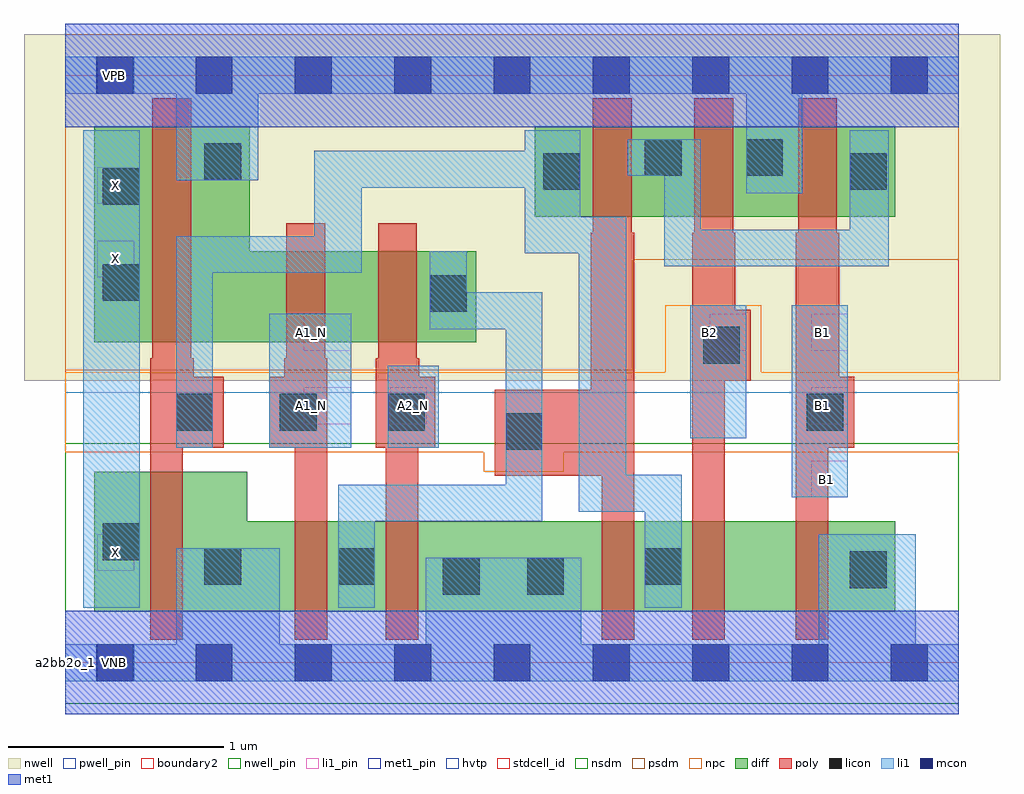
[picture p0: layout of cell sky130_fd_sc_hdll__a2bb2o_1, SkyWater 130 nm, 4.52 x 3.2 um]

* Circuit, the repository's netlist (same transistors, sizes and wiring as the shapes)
* Copyright 2020 The SkyWater PDK Authors
*
* Licensed under the Apache License, Version 2.0 (the "License");
* you may not use this file except in compliance with the License.
* You may obtain a copy of the License at
*
*     https://www.apache.org/licenses/LICENSE-2.0
*
* Unless required by applicable law or agreed to in writing, software
* distributed under the License is distributed on an "AS IS" BASIS,
* WITHOUT WARRANTIES OR CONDITIONS OF ANY KIND, either express or implied.
* See the License for the specific language governing permissions and
* limitations under the License.
*
* SPDX-License-Identifier: Apache-2.0

.SUBCKT sky130_fd_sc_hdll__a2bb2o_1 A1_N A2_N B1 B2 VGND VNB VPB VPWR X
*.PININFO A1_N:I A2_N:I B1:I B2:I VGND:I VNB:I VPB:I VPWR:I X:O
MMIN2 X y VGND VNB sky130_fd_pr__nfet_01v8 m=1 w=0.65U l=0.15U mult=1 sa=0.265
+ sb=0.265 sd=0.28 area=0.063 perim=1.14
MMNnor0 inor A1_N VGND VNB sky130_fd_pr__nfet_01v8 m=1 w=0.42U l=0.15U mult=1 sa=0.265
+ sb=0.265 sd=0.28 area=0.063 perim=1.14
MMNnor1 inor A2_N VGND VNB sky130_fd_pr__nfet_01v8 m=1 w=0.42U l=0.15U mult=1 sa=0.265
+ sb=0.265 sd=0.28 area=0.063 perim=1.14
MMNaoi10 VGND B1 sndNB1 VNB sky130_fd_pr__nfet_01v8 m=1 w=0.42U l=0.15U mult=1
+ sa=0.265 sb=0.265 sd=0.28 area=0.063 perim=1.14
MMNaoi11 sndNB1 B2 y VNB sky130_fd_pr__nfet_01v8 m=1 w=0.42U l=0.15U mult=1 sa=0.265
+ sb=0.265 sd=0.28 area=0.063 perim=1.14
MMNaoi20 y inor VGND VNB sky130_fd_pr__nfet_01v8 m=1 w=0.42U l=0.15U mult=1 sa=0.265
+ sb=0.265 sd=0.28 area=0.063 perim=1.14
MMPaoi20 y inor pmid VPB sky130_fd_pr__pfet_01v8_hvt m=1 w=0.42U l=0.18U mult=1
+ sa=0.265 sb=0.265 sd=0.28 area=0.063 perim=1.14
MMIP2 X y VPWR VPB sky130_fd_pr__pfet_01v8_hvt m=1 w=1.0U l=0.18U mult=1 sa=0.265
+ sb=0.265 sd=0.28 area=0.063 perim=1.14
MMPnor0 VPWR A1_N sndPA1N VPB sky130_fd_pr__pfet_01v8_hvt m=1 w=0.42U l=0.18U mult=1
+ sa=0.265 sb=0.265 sd=0.28 area=0.063 perim=1.14
MMPnor1 sndPA1N A2_N inor VPB sky130_fd_pr__pfet_01v8_hvt m=1 w=0.42U l=0.18U mult=1
+ sa=0.265 sb=0.265 sd=0.28 area=0.063 perim=1.14
MMPaoi10 pmid B1 VPWR VPB sky130_fd_pr__pfet_01v8_hvt m=1 w=0.42U l=0.18U mult=1
+ sa=0.265 sb=0.265 sd=0.28 area=0.063 perim=1.14
MMPaoi11 pmid B2 VPWR VPB sky130_fd_pr__pfet_01v8_hvt m=1 w=0.42U l=0.18U mult=1
+ sa=0.265 sb=0.265 sd=0.28 area=0.063 perim=1.14
.ENDS sky130_fd_sc_hdll__a2bb2o_1

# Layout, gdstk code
import gdstk
lib = gdstk.Library(unit=1e-6, precision=1e-09)
def R(c, l, rs):  # rectangles x0, y0, x1, y1
    for r in rs: c.add(gdstk.rectangle(r[:2], r[2:], *l))
def A(c, l, x, y, w, h, nx, ny, dx, dy):  # array of equal rectangles
    R(c, l, [(x+i*dx, y+j*dy, x+i*dx+w, y+j*dy+h) for i in range(nx) for j in range(ny)])
def P(c, l, *ps):  # polygons
    for p in ps: c.add(gdstk.Polygon(p, *l))
nwell_pin = (64, 16)
nwell = (64, 20)
diff = (65, 20)
poly = (66, 20)
licon = (66, 44)
li1_pin = (67, 16)
li1 = (67, 20)
mcon = (67, 44)
met1_pin = (68, 16)
met1 = (68, 20)
hvtp = (78, 44)
stdcell_id = (81, 4)
nsdm = (93, 44)
psdm = (94, 20)
npc = (95, 20)
pwell_pin = (122, 16)
boundary2 = (236, 0)

sky130_fd_sc_hdll__a2bb2 = lib.new_cell('sky130_fd_sc_hdll__a2bb2o_1')
R(sky130_fd_sc_hdll__a2bb2, nwell_pin, [(0.15,2.635,0.32,2.805)])
R(sky130_fd_sc_hdll__a2bb2, nwell, [(-0.19,1.305,4.33,2.91)])
R(sky130_fd_sc_hdll__a2bb2, diff, [(2.175,2.065,3.845,2.485)])
P(sky130_fd_sc_hdll__a2bb2, diff, [(3.845,0.655),(0.845,0.655),(0.845,0.885),(0.135,0.885),(0.135,0.235),(3.845,0.235)],
  [(1.905,1.905),(0.855,1.905),(0.855,2.485),(0.135,2.485),(0.135,1.485),(1.905,1.485)])
P(sky130_fd_sc_hdll__a2bb2, poly, [(0.735,1.325),(0.595,1.325),(0.595,1.41),(0.585,1.41),(0.585,2.615),(0.405,2.615),(0.405,1.41),(0.395,1.41),(0.395,0.105),(0.545,0.105),(0.545,0.995),(0.735,0.995)],
  [(1.215,1.41),(1.205,1.41),(1.205,2.035),(1.025,2.035),(1.025,1.41),(1.015,1.41),(1.015,1.325),(0.945,1.325),(0.945,0.995),(1.065,0.995),(1.065,0.105),(1.215,0.105)],
  [(1.715,1.325),(1.64,1.325),(1.64,1.41),(1.63,1.41),(1.63,2.035),(1.45,2.035),(1.45,1.41),(1.44,1.41),(1.44,0.995),(1.485,0.995),(1.485,0.105),(1.635,0.105),(1.635,0.995),(1.715,0.995)],
  [(2.635,1.99),(2.625,1.99),(2.625,2.615),(2.445,2.615),(2.445,1.99),(2.435,1.99),(2.435,1.265),(1.99,1.265),(1.99,0.865),(2.485,0.865),(2.485,0.105),(2.635,0.105)],
  [(3.175,1.635),(3.105,1.635),(3.105,1.99),(3.095,1.99),(3.095,2.615),(2.915,2.615),(2.915,1.99),(2.905,1.99),(2.905,0.105),(3.055,0.105),(3.055,1.305),(3.175,1.305)],
  [(3.655,1.325),(3.585,1.325),(3.585,1.99),(3.575,1.99),(3.575,2.615),(3.395,2.615),(3.395,1.99),(3.385,1.99),(3.385,0.105),(3.535,0.105),(3.535,0.995),(3.655,0.995)])
R(sky130_fd_sc_hdll__a2bb2, licon, [(1.75,0.315,1.92,0.485), (2.14,0.315,2.31,0.485), (3.635,0.345,3.805,0.515), (0.645,0.36,0.815,0.53), (1.265,0.36,1.435,0.53), (2.685,0.36,2.855,0.53), (0.175,0.475,0.345,0.645), (2.04,0.985,2.21,1.155), (0.515,1.075,0.685,1.245), (0.995,1.075,1.165,1.245), (1.495,1.075,1.665,1.245), (3.435,1.075,3.605,1.245), (2.955,1.385,3.125,1.555), (1.69,1.625,1.86,1.795), (0.175,1.675,0.345,1.845), (0.175,2.12,0.345,2.29), (2.215,2.19,2.385,2.36), (3.635,2.19,3.805,2.36), (0.645,2.235,0.815,2.405), (2.685,2.255,2.855,2.425), (3.155,2.255,3.325,2.425)])
A(sky130_fd_sc_hdll__a2bb2, li1_pin, 3.455, 0.765, 0.17, 0.17, 1, 3, 0, 0.34)
R(sky130_fd_sc_hdll__a2bb2, li1_pin, [(0.15,-0.085,0.32,0.085), (0.15,0.425,0.32,0.595), (1.105,1.105,1.325,1.275), (1.505,1.105,1.675,1.275), (1.105,1.445,1.325,1.615), (2.985,1.445,3.155,1.615), (0.15,1.785,0.32,1.955), (0.15,2.125,0.32,2.295), (0.15,2.635,0.32,2.805)])
R(sky130_fd_sc_hdll__a2bb2, li1, [(0.085,0.255,0.345,2.465), (3.365,0.765,3.625,1.655), (0.945,0.995,1.325,1.615), (1.495,0.995,1.73,1.375), (2.895,1.04,3.155,1.655)])
P(sky130_fd_sc_hdll__a2bb2, li1, [(2.855,0.87),(2.6,0.87),(2.6,2.065),(2.385,2.065),(2.385,2.465),(2.13,2.465),(2.13,2.37),(1.155,2.37),(1.155,1.975),(0.515,1.975),(0.515,0.995),(0.685,0.995),(0.685,1.805),(1.375,1.805),(1.375,2.2),(2.13,2.2),(2.13,1.895),(2.38,1.895),(2.38,0.7),(2.685,0.7),(2.685,0.255),(2.855,0.255)],
  [(2.21,1.715),(1.86,1.715),(1.86,1.905),(1.69,1.905),(1.69,1.545),(2.04,1.545),(2.04,0.825),(1.265,0.825),(1.265,0.255),(1.435,0.255),(1.435,0.655),(2.21,0.655)],
  [(3.815,2.465),(3.635,2.465),(3.635,2.005),(2.945,2.005),(2.945,2.425),(2.605,2.425),(2.605,2.255),(2.775,2.255),(2.775,1.835),(3.815,1.835)],
  [(4.14,2.805),(0,2.805),(0,2.635),(0.515,2.635),(0.515,2.235),(0.895,2.235),(0.895,2.635),(3.155,2.635),(3.155,2.175),(3.415,2.175),(3.415,2.635),(4.14,2.635)],
  [(4.14,0.085),(3.94,0.085),(3.94,0.595),(3.49,0.595),(3.49,0.085),(2.39,0.085),(2.39,0.485),(1.67,0.485),(1.67,0.085),(0.995,0.085),(0.995,0.53),(0.515,0.53),(0.515,0.085),(0,0.085),(0,-0.085),(4.14,-0.085)])
A(sky130_fd_sc_hdll__a2bb2, mcon, 0.145, -0.085, 0.17, 0.17, 9, 2, 0.46, 2.72)
R(sky130_fd_sc_hdll__a2bb2, met1_pin, [(0.15,-0.085,0.32,0.085), (0.15,2.635,0.32,2.805)])
R(sky130_fd_sc_hdll__a2bb2, met1, [(0,-0.24,4.14,0.24), (0,2.48,4.14,2.96)])
R(sky130_fd_sc_hdll__a2bb2, hvtp, [(0,1.25,4.14,2.72)])
R(sky130_fd_sc_hdll__a2bb2, stdcell_id, [(0,0,4.14,2.72)])
R(sky130_fd_sc_hdll__a2bb2, nsdm, [(0,-0.19,4.14,1.015)])
P(sky130_fd_sc_hdll__a2bb2, psdm, [(4.14,2.91),(0,2.91),(0,1.355),(2.63,1.355),(2.63,1.865),(4.14,1.865)])
P(sky130_fd_sc_hdll__a2bb2, npc, [(4.14,1.345),(3.225,1.345),(3.225,1.655),(2.78,1.655),(2.78,1.345),(0,1.345),(0,0.975),(1.94,0.975),(1.94,0.885),(2.31,0.885),(2.31,0.975),(4.14,0.975)])
R(sky130_fd_sc_hdll__a2bb2, pwell_pin, [(0.15,-0.085,0.32,0.085)])
R(sky130_fd_sc_hdll__a2bb2, boundary2, [(0,0,4.14,2.72)])
sky130_fd_sc_hdll__a2bb2.add(gdstk.Label('VNB', (0.23,0), layer=64, texttype=59))
sky130_fd_sc_hdll__a2bb2.add(gdstk.Label('VPB', (0.23,2.72), layer=64, texttype=5))
sky130_fd_sc_hdll__a2bb2.add(gdstk.Label('VGND', (0.23,0), layer=68, texttype=5))
sky130_fd_sc_hdll__a2bb2.add(gdstk.Label('VPWR', (0.23,2.72), layer=68, texttype=5))
sky130_fd_sc_hdll__a2bb2.add(gdstk.Label('VPWR', (0.23,2.72), layer=67, texttype=5))
sky130_fd_sc_hdll__a2bb2.add(gdstk.Label('VGND', (0.23,0), layer=67, texttype=5))
sky130_fd_sc_hdll__a2bb2.add(gdstk.Label('B1', (3.51,1.19), layer=67, texttype=5))
sky130_fd_sc_hdll__a2bb2.add(gdstk.Label('B1', (3.51,1.53), layer=67, texttype=5))
sky130_fd_sc_hdll__a2bb2.add(gdstk.Label('B1', (3.525,0.85), layer=67, texttype=5))
sky130_fd_sc_hdll__a2bb2.add(gdstk.Label('A1_N', (1.14,1.19), layer=67, texttype=5))
sky130_fd_sc_hdll__a2bb2.add(gdstk.Label('A2_N', (1.615,1.19), layer=67, texttype=5))
sky130_fd_sc_hdll__a2bb2.add(gdstk.Label('X', (0.235,0.51), layer=67, texttype=5))
sky130_fd_sc_hdll__a2bb2.add(gdstk.Label('B2', (2.985,1.53), layer=67, texttype=5))
sky130_fd_sc_hdll__a2bb2.add(gdstk.Label('A1_N', (1.14,1.53), layer=67, texttype=5))
sky130_fd_sc_hdll__a2bb2.add(gdstk.Label('X', (0.235,2.21), layer=67, texttype=5))
sky130_fd_sc_hdll__a2bb2.add(gdstk.Label('X', (0.235,1.87), layer=67, texttype=5))
sky130_fd_sc_hdll__a2bb2.add(gdstk.Label('a2bb2o_1', (0,0), layer=83, texttype=44))

lib.write_gds('sky130_fd_sc_hdll__a2bb2o_1.gds')
